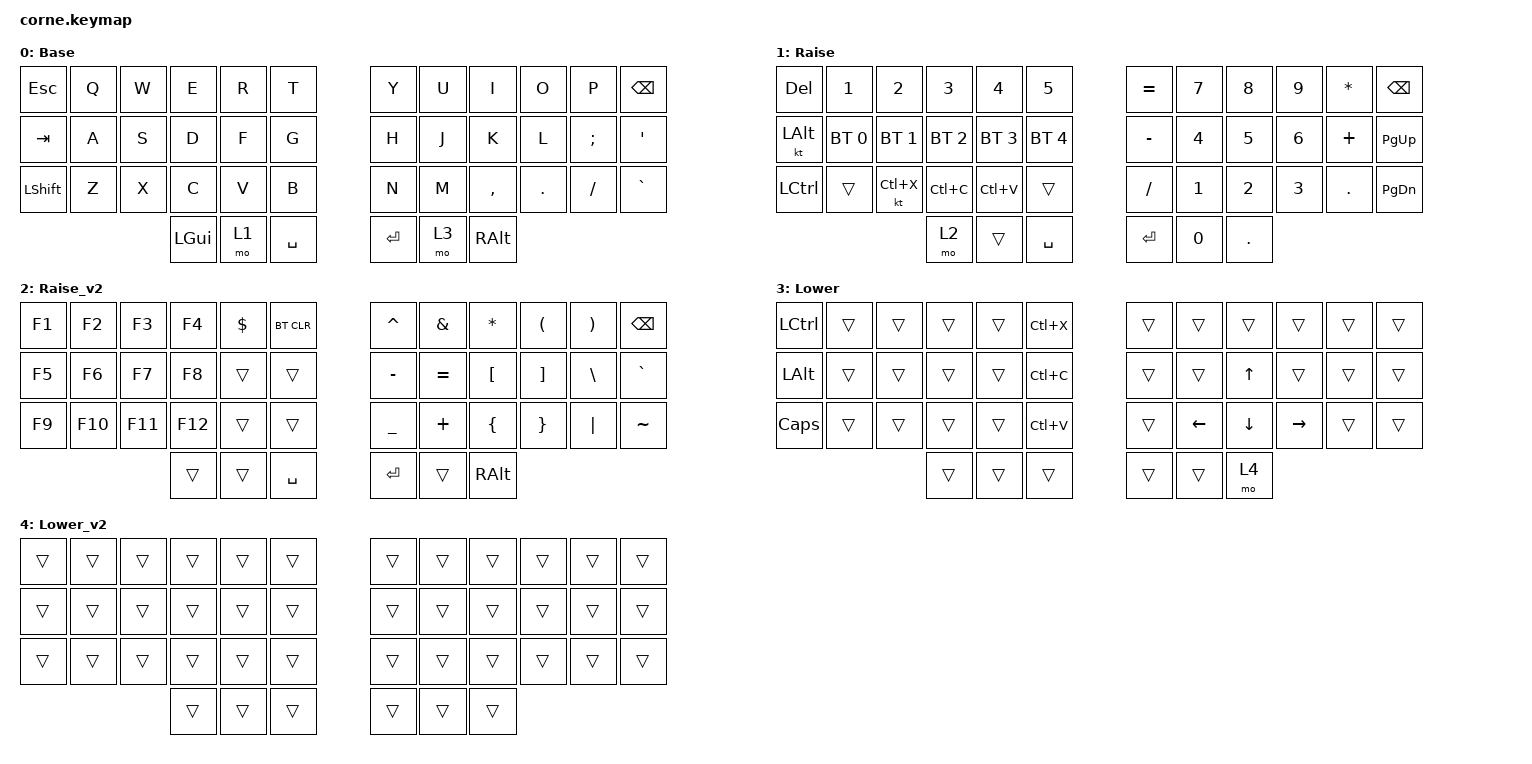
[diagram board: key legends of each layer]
/*
 * Copyright (c) 2020 The ZMK Contributors
 *
 * SPDX-License-Identifier: MIT
 */

#include <behaviors.dtsi>
#include <dt-bindings/zmk/bt.h>
#include <dt-bindings/zmk/keys.h>
#include <dt-bindings/zmk/keys.h>

/ {
    keymap {
        compatible = "zmk,keymap";

        Base {
            // -----------------------------------------------------------------------------------------
            // |  TAB |  Q  |  W  |  E  |  R  |  T  |   |  Y  |  U   |  I  |  O  |  P  | BSPC |
            // | CTRL |  A  |  S  |  D  |  F  |  G  |   |  H  |  J   |  K  |  L  |  ;  |  '   |
            // | SHFT |  Z  |  X  |  C  |  V  |  B  |   |  N  |  M   |  ,  |  .  |  /  | ESC  |
            //                    | GUI | LWR | SPC |   | ENT | RSE  | ALT |

            bindings = <
&kp ESCAPE      &kp Q  &kp W  &kp E     &kp R  &kp T        &kp Y    &kp U  &kp I      &kp O    &kp P     &kp BSPC
&kp TAB         &kp A  &kp S  &kp D     &kp F  &kp G        &kp H    &kp J  &kp K      &kp L    &kp SEMI  &kp SQT
&kp LEFT_SHIFT  &kp Z  &kp X  &kp C     &kp V  &kp B        &kp N    &kp M  &kp COMMA  &kp DOT  &kp FSLH  &kp GRAVE
                              &kp LGUI  &mo 1  &kp SPACE    &kp RET  &mo 3  &kp RALT
            >;
        };

        Raise {
            // -----------------------------------------------------------------------------------------
            // |  TAB |  1  |  2  |  3  |  4  |  5  |   |  6  |  7  |  8  |  9  |  0  | BSPC |
            // | BTCLR| BT1 | BT2 | BT3 | BT4 | BT5 |   | LFT | DWN |  UP | RGT |     |      |
            // | SHFT |     |     |     |     |     |   |     |     |     |     |     |      |
            //                    | GUI |     | SPC |   | ENT |     | ALT |

            bindings = <
&kp DELETE        &kp N1        &kp N2        &kp N3        &kp N4        &kp N5          &kp EQUAL  &kp N7        &kp N8        &kp N9        &kp ASTERISK  &kp BSPC
&kt LEFT_ALT      &bt BT_SEL 0  &bt BT_SEL 1  &bt BT_SEL 2  &bt BT_SEL 3  &bt BT_SEL 4    &kp MINUS  &kp NUMBER_4  &kp N5        &kp NUMBER_6  &kp PLUS      &kp PAGE_UP
&kp LEFT_CONTROL  &trans        &kt LC(X)     &kp LC(C)     &kp LC(V)     &trans          &kp SLASH  &kp NUMBER_1  &kp NUMBER_2  &kp NUMBER_3  &kp PERIOD    &kp PAGE_DOWN
                                              &mo 2         &trans        &kp SPACE       &kp RET    &kp N0        &kp PERIOD
            >;
        };

        Raise_v2 {
            // -----------------------------------------------------------------------------------------
            // |  TAB |  !  |  @  |  #  |  $  |  %  |   |  ^  |  &  |  *  |  (  |  )  | BSPC |
            // | CTRL |     |     |     |     |     |   |  -  |  =  |  [  |  ]  |  \  |  `   |
            // | SHFT |     |     |     |     |     |   |  _  |  +  |  {  |  }  | "|" |  ~   |
            //                    | GUI |     | SPC |   | ENT |     | ALT |

            bindings = <
&kp F1  &kp F2   &kp F3   &kp F4   &kp DLLR  &bt BT_CLR    &kp CARET  &kp AMPS   &kp ASTRK  &kp LPAR  &kp RPAR  &kp BSPC
&kp F5  &kp F6   &kp F7   &kp F8   &trans    &trans        &kp MINUS  &kp EQUAL  &kp LBKT   &kp RBKT  &kp BSLH  &kp GRAVE
&kp F9  &kp F10  &kp F11  &kp F12  &trans    &trans        &kp UNDER  &kp PLUS   &kp LBRC   &kp RBRC  &kp PIPE  &kp TILDE
                          &trans   &trans    &kp SPACE     &kp RET    &trans     &kp RALT
            >;
        };

        Lower {
            bindings = <
&kp LEFT_CONTROL  &trans  &trans  &trans  &trans  &kp LC(X)    &trans  &trans    &trans        &trans     &trans  &trans
&kp LEFT_ALT      &trans  &trans  &trans  &trans  &kp LC(C)    &trans  &trans    &kp UP_ARROW  &trans     &trans  &trans
&kp CAPSLOCK      &trans  &trans  &trans  &trans  &kp LC(V)    &trans  &kp LEFT  &kp DOWN      &kp RIGHT  &trans  &trans
                                  &trans  &trans  &trans       &trans  &trans    &mo 4
            >;
        };

        Lower_v2 {
            bindings = <
&trans  &trans  &trans  &trans  &trans  &trans    &trans  &trans  &trans  &trans  &trans  &trans
&trans  &trans  &trans  &trans  &trans  &trans    &trans  &trans  &trans  &trans  &trans  &trans
&trans  &trans  &trans  &trans  &trans  &trans    &trans  &trans  &trans  &trans  &trans  &trans
                        &trans  &trans  &trans    &trans  &trans  &trans
            >;
        };
    };
};
